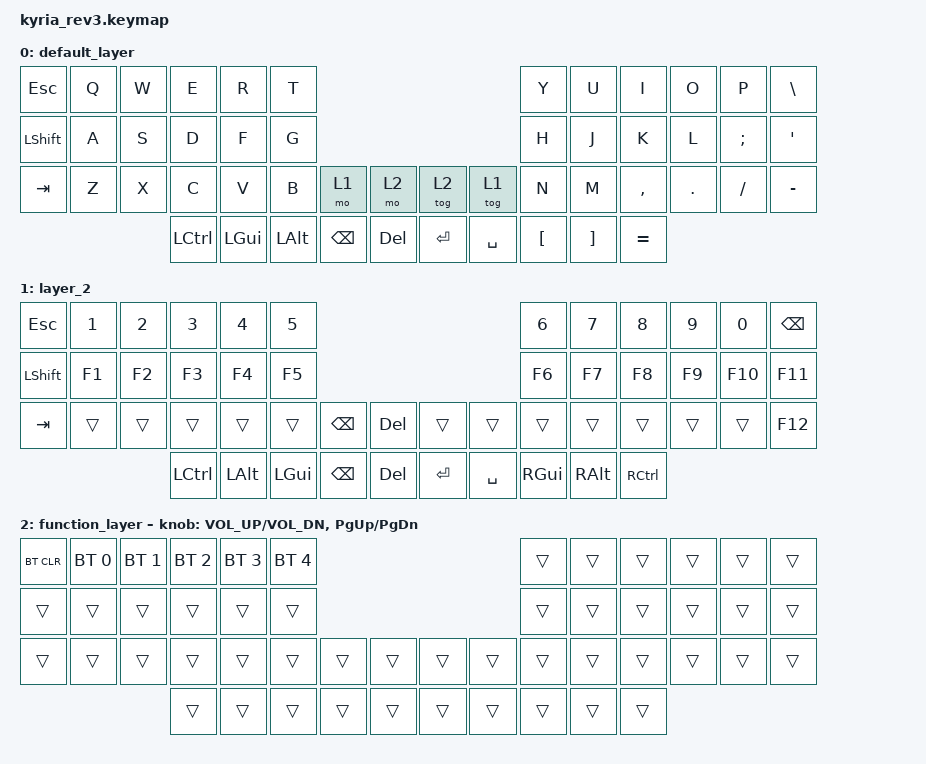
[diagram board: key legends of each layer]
/*
 * Copyright (c) 2023 The ZMK Contributors
 *
 * SPDX-License-Identifier: MIT
 */

#include <behaviors.dtsi>
#include <dt-bindings/zmk/bt.h>
#include <dt-bindings/zmk/keys.h>

/* Uncomment this block if using RGB
&led_strip {
    chain-length = <6>;
    // chain-length = <31>; // Uncomment if using both per-key and underglow LEDs
    // chain-length = <25>; // Uncomment if using only per-key LEDs.
};
 */

/ {
    keymap {
        compatible = "zmk,keymap";

        default_layer {
            // ---------------------------------------------------------------------------------------------------------------------------------
            // |  ESC  |  Q  |  W  |  E   |  R   |  T   |                                          |  Y   |  U    |  I    |  O   |   P   |   \  |
            // |  TAB  |  A  |  S  |  D   |  F   |  G   |                                          |  H   |  J    |  K    |  L   |   ;   |   '  |
            // | SHIFT |  Z  |  X  |  C   |  V   |  B   | L SHIFT | L SHIFT |  | LAYER 1 | L SHIFT |  N   |  M    |  ,    |  .   |   /   | CTRL |
            //                     | CTRL  | LGUI  | L-ALT  |  BSPC  |   DEL   |  |   RET   |  SPACE  | TAB  | RALT  | CTRL |

            bindings = <
&kp ESC         &kp Q  &kp W  &kp E             &kp R     &kp T                                            &kp Y             &kp U              &kp I      &kp O    &kp P     &kp BSLH
&kp LEFT_SHIFT  &kp A  &kp S  &kp D             &kp F     &kp G                                            &kp H             &kp J              &kp K      &kp L    &kp SEMI  &kp SQT
&kp TAB         &kp Z  &kp X  &kp C             &kp V     &kp B     &mo 1     &mo 2    &tog 2   &tog 1     &kp N             &kp M              &kp COMMA  &kp DOT  &kp FSLH  &kp MINUS
                              &kp LEFT_CONTROL  &kp LGUI  &kp LALT  &kp BSPC  &kp DEL  &kp RET  &kp SPACE  &kp LEFT_BRACKET  &kp RIGHT_BRACKET  &kp EQUAL
            >;
        };

        layer_2 {
            bindings = <
&kp ESC         &kp N1  &kp N2  &kp N3     &kp N4    &kp N5                                           &kp N6    &kp N7    &kp N8     &kp N9  &kp N0   &kp BSPC
&kp LEFT_SHIFT  &kp F1  &kp F2  &kp F3     &kp F4    &kp F5                                           &kp F6    &kp F7    &kp F8     &kp F9  &kp F10  &kp F11
&kp TAB         &trans  &trans  &trans     &trans    &trans    &kp BSPC  &kp DEL  &trans   &trans     &trans    &trans    &trans     &trans  &trans   &kp F12
                                &kp LCTRL  &kp LALT  &kp LGUI  &kp BSPC  &kp DEL  &kp RET  &kp SPACE  &kp RGUI  &kp RALT  &kp RCTRL
            >;
        };

        function_layer {
            // ---------------------------------------------------------------------------------------------------------------------------------
            // |BT_CLR |BTSEL0|BTSEL1|BTSEL2|BTSEL3|BTSEL4|                                         |      |      |      |      |      |      |
            // |       |      |      |      |	   |      |                                         |      |      |      |      |      |      |
            // |       |      |      |      |      |      |      |      |      |      |      |      |      |      |      |      |      |      |
            //                       |      |      |      |      |      |      |      |      |      |      |      |      |

            bindings = <
&bt BT_CLR  &bt BT_SEL 0  &bt BT_SEL 1  &bt BT_SEL 2  &bt BT_SEL 3  &bt BT_SEL 4                                  &trans  &trans  &trans  &trans  &trans  &trans
&trans      &trans        &trans        &trans        &trans        &trans                                        &trans  &trans  &trans  &trans  &trans  &trans
&trans      &trans        &trans        &trans        &trans        &trans        &trans  &trans  &trans  &trans  &trans  &trans  &trans  &trans  &trans  &trans
                                        &trans        &trans        &trans        &trans  &trans  &trans  &trans  &trans  &trans  &trans
            >;

            sensor-bindings = <&inc_dec_kp C_VOL_UP C_VOL_DN &inc_dec_kp PG_UP PG_DN>;
        };
    };
};
